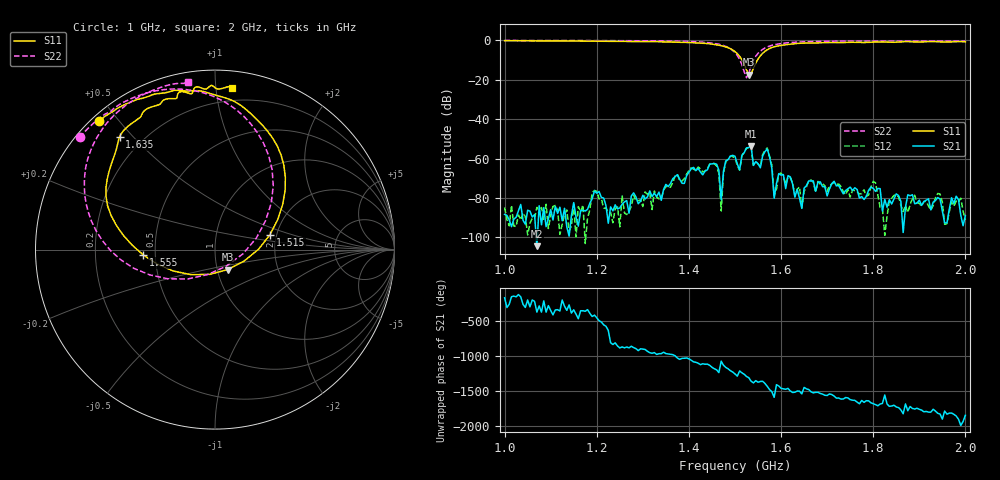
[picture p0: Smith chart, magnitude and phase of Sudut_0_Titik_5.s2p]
# Hz S RI R 50
! CMT, C1220, 16058040, 17.2.0/1
! Date: 14/08/2018 11:44:48
! Data: Format (Calibration Info)
! Freq  S11: Re/Im (F2)  S21: Re/Im (F2)  S12: Re/Im (F2)  S22: Re/Im (F2)
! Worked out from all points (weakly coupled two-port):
!   201 points, 1 GHz to 2 GHz, reference 50 ohm
!   highest |S21| = -53.91 dB at 1.535 GHz (marker M1); lowest = -104.4 dB at 1.07 GHz (marker M2)
!   lowest |S11| = -17.6 dB at 1.53 GHz (marker M3), VSWR 1.30, Z = 56.2 - j12.7 ohm
!   |S11| at or under -10 dB: 1.515 GHz to 1.549 GHz (33.89 MHz wide, 2.21 % of centre)
!   |S22| runs from -19.1 to -0.2 dB; largest |S21 - S12| = 0.00018
!   S11 on the Smith chart (normalised r, x): 1 GHz: 0.02, +0.44; 1.515 GHz: 1.84, +0.34; 1.555 GHz: 0.43, -0.03; 1.635 GHz: 0.12, +0.46; 2 GHz: 0.11, +1.11
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1e9  -0.6484 0.7152  -3.84e-05 -2.72e-06  -3.94e-05 -4.15e-05  -0.7549 0.6247
1.07e9  -0.5694 0.7691  5.64e-06 -2.07e-06  4.97e-05 2.96e-05  -0.7059 0.677
1.17e9  -0.4666 0.8232  4.91e-05 -1.01e-06  5.12e-05 -4.19e-05  -0.618 0.7511
1.335e9  -0.2003 0.8859  -4.05e-05 0.000135  -2.24e-05 9.25e-05  -0.4004 0.8665
1.45e9  0.1865 0.7692  4.02e-05 -0.000731  -1.5e-05 -0.000777  0.0226 0.8393
1.465e9  0.265 0.6924  -0.000485 -0.000152  -0.00041 -0.000103  0.1257 0.7733
1.47e9  0.294 0.6583  9.05e-05 -2.7e-08  3.75e-05 -2.81e-05  0.1627 0.7403
1.48e9  0.3478 0.5755  1.5e-05 -0.000867  1.44e-05 -0.000818  0.2364 0.6511
1.5e9  0.3909 0.3319  -0.00114 3.23e-05  -0.00103 6.06e-05  0.3246 0.356
1.51e9  0.3497 0.1677  -0.000393 -0.000331  -0.000384 -0.000324  0.2817 0.1605
1.515e9  0.3061 0.0826  -0.00117 -0.000294  -0.00115 -0.00028  0.2302 0.0642
1.53e9  0.0717 -0.1111  -0.00106 0.00158  -0.00107 0.00156  -0.0427 -0.1395
1.535e9  -0.0284 -0.1378  0.000569 0.00193  0.000615 0.00192  -0.1534 -0.1638
1.555e9  -0.3993 -0.03  0.000195 0.000548  0.000167 0.000606  -0.5232 -0.0581
1.57e9  -0.551 0.1375  0.00175 3.12e-05  0.00185 2.83e-05  -0.6624 0.105
1.58e9  -0.5989 0.2454  0.000149 -0.000538  0.000143 -0.000663  -0.7063 0.2093
1.585e9  -0.6072 0.2983  -8.94e-05 -4.17e-05  -9.81e-05 -5.46e-05  -0.718 0.2559
1.595e9  -0.6001 0.3953  0.000411 4.07e-05  0.000408 3.11e-05  -0.7276 0.3401
1.635e9  -0.5315 0.6281  6.72e-05 -0.000151  6.04e-05 -0.000155  -0.6883 0.5628
1.67e9  -0.4271 0.7282  -7.73e-06 -0.00027  3.46e-05 -0.000243  -0.6272 0.6723
1.835e9  -0.1373 0.8683  2.25e-05 8.77e-05  -6.55e-05 5.35e-05  -0.3766 0.8749
2e9  0.0967 0.9026  2.26e-05 -2.8e-05  1.71e-05 -2.22e-05  -0.1512 0.9344
